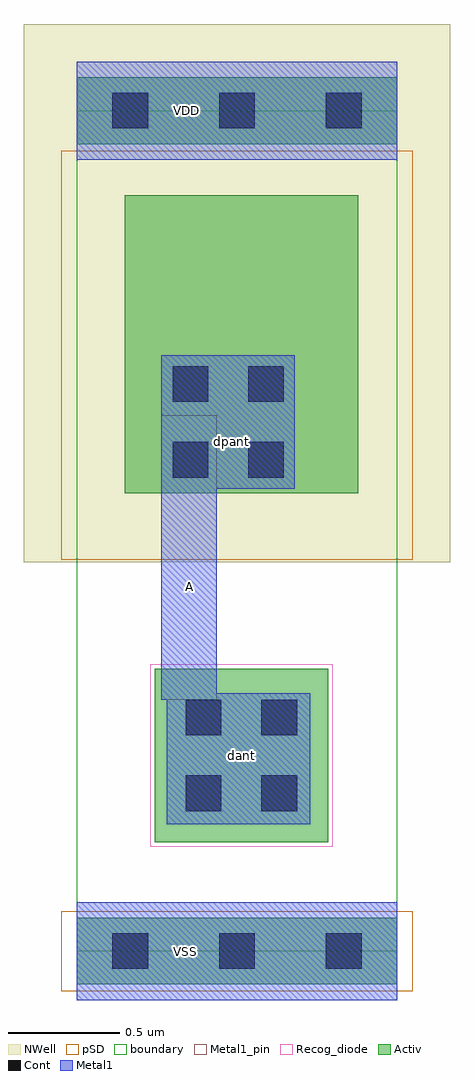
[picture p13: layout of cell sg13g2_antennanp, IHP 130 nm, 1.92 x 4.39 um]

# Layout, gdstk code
import gdstk
lib = gdstk.Library(unit=1e-6, precision=5e-09)
def R(c, l, rs):  # rectangles x0, y0, x1, y1
    for r in rs: c.add(gdstk.rectangle(r[:2], r[2:], *l))
def A(c, l, x, y, w, h, nx, ny, dx, dy):  # array of equal rectangles
    R(c, l, [(x+i*dx, y+j*dy, x+i*dx+w, y+j*dy+h) for i in range(nx) for j in range(ny)])
def P(c, l, *ps):  # polygons
    for p in ps: c.add(gdstk.Polygon(p, *l))
Activ = (1, 0)
Cont = (6, 0)
Metal1 = (8, 0)
Metal1_pin = (8, 2)
pSD = (14, 0)
NWell = (31, 0)
Recog_diode = (99, 31)
boundary = (189, 4)

sg13g2_antennanp = lib.new_cell('sg13g2_antennanp')
R(sg13g2_antennanp, Activ, [(0,-0.15,1.44,0.15), (0.35,0.49,1.13,1.27), (0.215,2.06,1.265,3.4), (0,3.63,1.44,3.93)])
A(sg13g2_antennanp, Cont, 0.16, -0.08, 0.16, 0.16, 3, 2, 0.48, 3.78)
R(sg13g2_antennanp, Cont, [(0.16,-0.08,0.32,0.08), (0.49,0.63,0.65,0.79), (0.83,0.63,0.99,0.79), (0.49,0.97,0.65,1.13), (0.83,0.97,0.99,1.13), (0.43,2.13,0.59,2.29), (0.77,2.13,0.93,2.29), (0.43,2.47,0.59,2.63), (0.77,2.47,0.93,2.63), (0.16,3.7,0.32,3.86)])
R(sg13g2_antennanp, Metal1, [(0,-0.22,1.44,0.22), (0.38,2.08,0.98,2.68), (0,3.56,1.44,4)])
P(sg13g2_antennanp, Metal1, [(0.405,0.57),(0.405,1.13),(0.38,1.13),(0.38,2.41),(0.63,2.41),(0.63,1.16),(1.05,1.16),(1.05,0.57)])
R(sg13g2_antennanp, Metal1_pin, [(0,-0.22,1.44,0.22), (0.38,1.13,0.63,2.41), (0,3.56,1.44,4)])
R(sg13g2_antennanp, pSD, [(-0.07,-0.18,1.51,0.18), (-0.07,1.76,1.51,3.6)])
R(sg13g2_antennanp, NWell, [(-0.24,1.75,1.68,4.17)])
R(sg13g2_antennanp, Recog_diode, [(0.33,0.47,1.15,1.29), (0.215,2.06,1.265,3.4)])
R(sg13g2_antennanp, boundary, [(0,0,1.44,3.78)])
sg13g2_antennanp.add(gdstk.Label('A', (0.505,1.64), layer=8, texttype=25))
sg13g2_antennanp.add(gdstk.Label('VSS', (0.49,0), layer=8, texttype=25))
sg13g2_antennanp.add(gdstk.Label('VDD', (0.495,3.78), layer=8, texttype=25))
sg13g2_antennanp.add(gdstk.Label('dpant', (0.695,2.29), layer=63, texttype=0))
sg13g2_antennanp.add(gdstk.Label('dant', (0.74,0.88), layer=63, texttype=0))

lib.write_gds('sg13g2_antennanp.gds')
